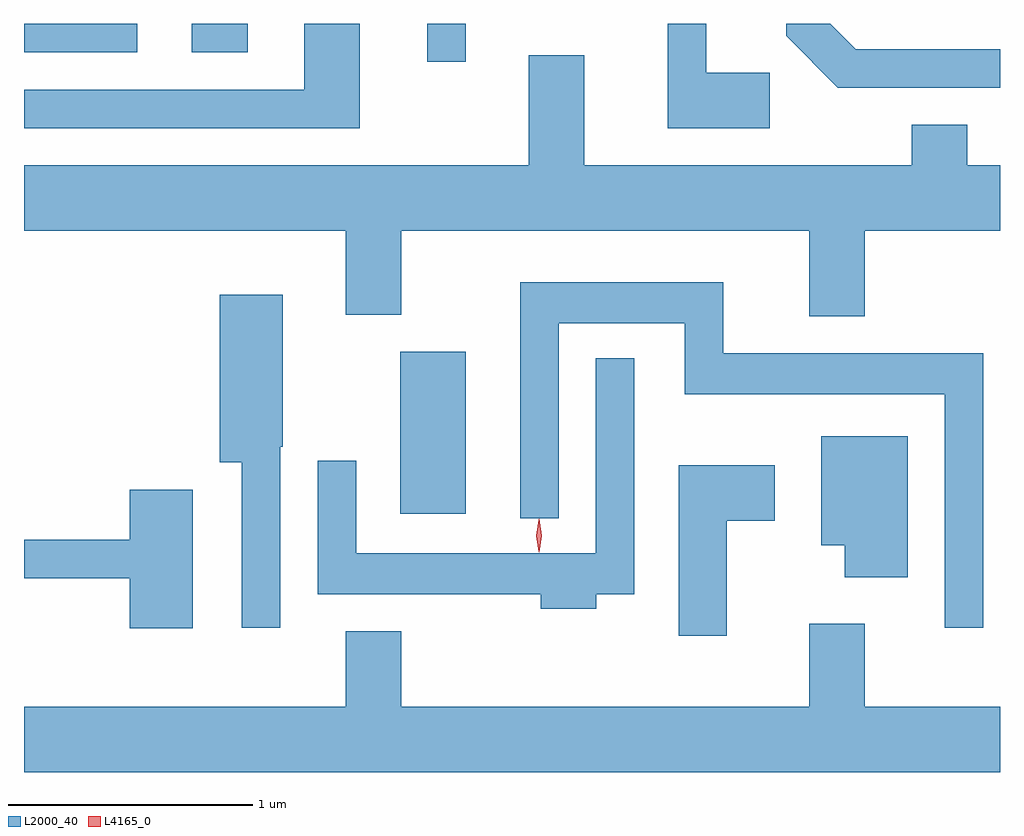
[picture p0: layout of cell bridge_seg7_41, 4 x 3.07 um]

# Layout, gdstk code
import gdstk
lib = gdstk.Library(unit=1e-6, precision=1e-09)
def R(c, l, rs):  # rectangles x0, y0, x1, y1
    for r in rs: c.add(gdstk.rectangle(r[:2], r[2:], *l))
def P(c, l, *ps):  # polygons
    for p in ps: c.add(gdstk.Polygon(p, *l))
L2000_40 = (2000, 40)
L4165_0 = (4165, 0)

bridge_seg7_41 = lib.new_cell('bridge_seg7_41')
R(bridge_seg7_41, L2000_40, [(1580.936,1797.516,1581.204,1798.179), (1581.046,1799.368,1581.204,1799.524), (1579.393,1799.406,1579.858,1799.524), (1580.081,1799.406,1580.309,1799.524)])
P(bridge_seg7_41, L2000_40, [(1582.449,1799.324),(1582.189,1799.324),(1582.189,1799.524),(1582.031,1799.524),(1582.031,1799.096),(1582.449,1799.096)],
  [(1583.393,1799.419),(1582.802,1799.419),(1582.697,1799.524),(1582.516,1799.524),(1582.516,1799.474),(1582.729,1799.261),(1583.393,1799.261)],
  [(1580.769,1799.524),(1580.541,1799.524),(1580.541,1799.254),(1579.393,1799.254),(1579.393,1799.096),(1580.769,1799.096)],
  [(1582.839,1798.676),(1583.393,1798.676),(1583.393,1798.944),(1583.259,1798.944),(1583.259,1799.109),(1583.031,1799.109),(1583.031,1798.944),(1581.689,1798.944),(1581.689,1799.394),(1581.461,1799.394),(1581.461,1798.944),(1579.393,1798.944),(1579.393,1798.676),(1580.711,1798.676),(1580.711,1798.331),(1580.939,1798.331),(1580.939,1798.676),(1582.611,1798.676),(1582.611,1798.326),(1582.839,1798.326)],
  [(1583.324,1798.174),(1582.259,1798.174),(1582.259,1798.464),(1581.426,1798.464),(1581.426,1797.498),(1581.584,1797.498),(1581.584,1798.296),(1582.101,1798.296),(1582.101,1798.006),(1583.166,1798.006),(1583.166,1797.048),(1583.324,1797.048)],
  [(1580.444,1797.79),(1580.454,1797.79),(1580.454,1798.414),(1580.196,1798.414),(1580.196,1797.726),(1580.286,1797.726),(1580.286,1797.048),(1580.444,1797.048)],
  [(1581.739,1797.186),(1581.894,1797.186),(1581.894,1798.153),(1581.736,1798.153),(1581.736,1797.354),(1580.754,1797.354),(1580.754,1797.733),(1580.596,1797.733),(1580.596,1797.186),(1581.511,1797.186),(1581.511,1797.126),(1581.739,1797.126)],
  [(1583.014,1797.834),(1582.661,1797.834),(1582.661,1797.386),(1582.756,1797.386),(1582.756,1797.256),(1583.014,1797.256)],
  [(1582.274,1797.486),(1582.469,1797.486),(1582.469,1797.714),(1582.076,1797.714),(1582.076,1797.016),(1582.274,1797.016)],
  [(1580.084,1797.614),(1579.826,1797.614),(1579.826,1797.409),(1579.393,1797.409),(1579.393,1797.251),(1579.826,1797.251),(1579.826,1797.046),(1580.084,1797.046)],
  [(1583.393,1796.724),(1582.839,1796.724),(1582.839,1797.064),(1582.611,1797.064),(1582.611,1796.724),(1580.939,1796.724),(1580.939,1797.034),(1580.711,1797.034),(1580.711,1796.724),(1579.393,1796.724),(1579.393,1796.456),(1583.393,1796.456)])
P(bridge_seg7_41, L4165_0, [(1581.503,1797.359),(1581.503,1797.36),(1581.493,1797.426),(1581.503,1797.492),(1581.503,1797.493),(1581.504,1797.492),(1581.513,1797.426),(1581.504,1797.36)],
  [(1581.504,1797.357),(1581.495,1797.426),(1581.504,1797.496),(1581.505,1797.496),(1581.505,1797.496),(1581.515,1797.426),(1581.505,1797.357),(1581.505,1797.357)])

lib.write_gds('bridge_seg7_41.gds')
